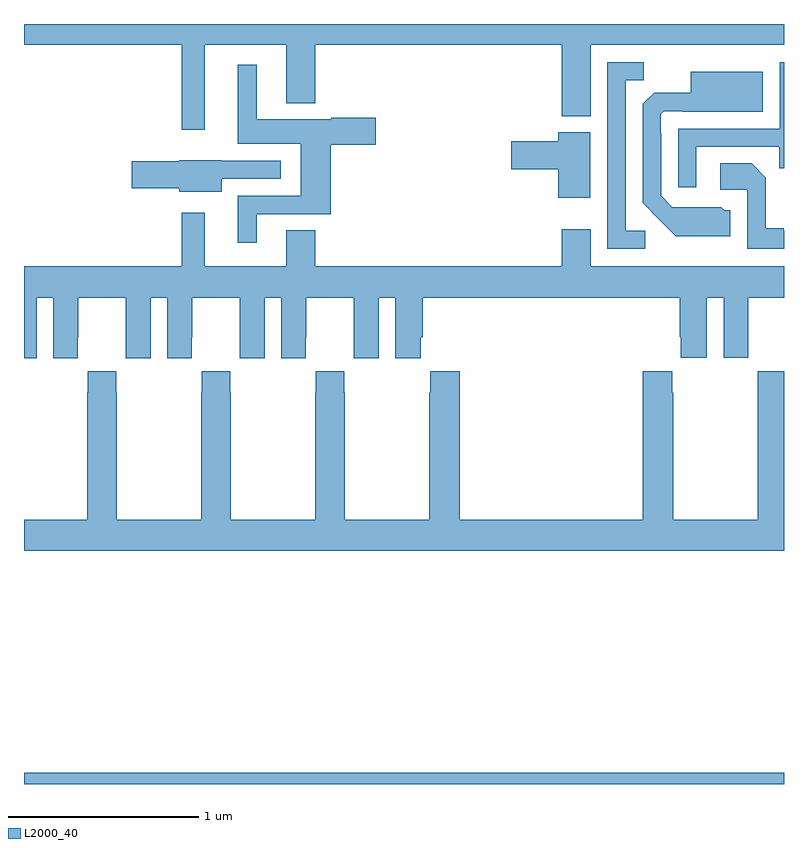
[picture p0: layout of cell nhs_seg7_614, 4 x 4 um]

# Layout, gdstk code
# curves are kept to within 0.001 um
import gdstk
lib = gdstk.Library(unit=1e-6, precision=1e-09)
def R(c, l, rs):  # rectangles x0, y0, x1, y1
    for r in rs: c.add(gdstk.rectangle(r[:2], r[2:], *l))
def P(c, l, *ps):  # polygons
    for p in ps: c.add(gdstk.Polygon(p, *l))
L2000_40 = (2000, 40)

nhs_seg7_614 = lib.new_cell('nhs_seg7_614')
R(nhs_seg7_614, L2000_40, [(157,1054,161,1054.06)])
P(nhs_seg7_614, L2000_40, [(157.951,1057.892),(158.381,1057.892),(158.381,1057.583),(158.534,1057.583),(158.534,1057.892),(159.83,1057.892),(159.83,1057.514),(159.982,1057.514),(159.982,1057.892),(161,1057.892),(161,1058),(157,1058),(157,1057.892),(157.83,1057.892),(157.83,1057.443),(157.951,1057.443)],
  [(160.539,1057.353),(160.975,1057.353),(160.975,1057.24),(161,1057.24),(161,1057.8),(160.977,1057.8),(160.977,1057.449),(160.443,1057.449),(160.443,1057.14),(160.539,1057.14)],
  [(160.27,1056.912),(160.167,1056.912),(160.167,1057.705),(160.263,1057.705),(160.263,1057.8),(160.071,1057.8),(160.071,1056.816),(160.27,1056.816)],
  [(158.224,1056.999),(158.615,1056.999),(158.615,1057.364),(158.851,1057.364),(158.851,1057.506),(158.617,1057.506),(158.617,1057.498),(158.224,1057.498),(158.224,1057.786),(158.126,1057.786),(158.126,1057.37),(158.456,1057.37),(158.456,1057.095),(158.126,1057.095),(158.126,1056.849),(158.224,1056.849)],
  [(160.717,1057.02),(160.686,1057.02),(160.67,1057.036),(160.413,1057.035),(160.353,1057.095),(160.353,1057.424),(160.35,1057.424),(160.35,1057.524),(160.368,1057.542),(160.468,1057.542),(160.468,1057.538),(160.888,1057.538),(160.888,1057.75),(160.508,1057.75),(160.508,1057.639),(160.316,1057.639),(160.257,1057.58),(160.257,1057.058),(160.429,1056.884),(160.717,1056.884)],
  [(159.979,1057.429),(159.812,1057.429),(159.812,1057.382),(159.564,1057.382),(159.564,1057.235),(159.812,1057.235),(159.812,1057.086),(159.979,1057.086)],
  [(158.041,1057.185),(158.35,1057.185),(158.35,1057.281),(158.037,1057.281),(158.037,1057.282),(157.818,1057.282),(157.818,1057.277),(157.566,1057.277),(157.566,1057.135),(157.818,1057.135),(157.818,1057.118),(158.041,1057.118)],
  [(161,1056.912),(160.999,1056.912),(160.999,1056.925),(160.905,1056.925),(160.905,1057.192),(160.829,1057.268),(160.665,1057.268),(160.665,1057.128),(160.806,1057.128),(160.806,1056.816),(161,1056.816)],
  [(158.135,1056.352),(158.136,1056.352),(158.136,1056.24),(158.266,1056.24),(158.266,1056.56),(158.354,1056.56),(158.354,1056.24),(158.484,1056.24),(158.484,1056.352),(158.485,1056.352),(158.485,1056.56),(158.735,1056.56),(158.735,1056.352),(158.736,1056.352),(158.736,1056.24),(158.866,1056.24),(158.866,1056.56),(158.954,1056.56),(158.954,1056.24),(159.088,1056.24),(159.088,1056.352),(159.098,1056.352),(159.098,1056.56),(160.451,1056.56),(160.451,1056.355),(160.457,1056.355),(160.457,1056.243),(160.594,1056.243),(160.594,1056.56),(160.682,1056.56),(160.682,1056.243),(160.813,1056.243),(160.813,1056.56),(161,1056.56),(161,1056.724),(159.982,1056.724),(159.982,1056.919),(159.83,1056.919),(159.83,1056.724),(158.534,1056.724),(158.534,1056.914),(158.381,1056.914),(158.381,1056.724),(157.951,1056.724),(157.951,1057.006),(157.83,1057.006),(157.83,1056.724),(157,1056.724),(157,1056.24),(157.066,1056.24),(157.066,1056.56),(157.154,1056.56),(157.154,1056.24),(157.284,1056.24),(157.284,1056.352),(157.285,1056.352),(157.285,1056.56),(157.535,1056.56),(157.535,1056.352),(157.536,1056.352),(157.536,1056.24),(157.666,1056.24),(157.666,1056.56),(157.754,1056.56),(157.754,1056.24),(157.884,1056.24),(157.884,1056.352),(157.885,1056.352),(157.885,1056.56),(158.135,1056.56)],
  [(159.139,1056.172),(159.139,1056.059),(159.133,1056.059),(159.133,1055.392),(158.688,1055.392),(158.688,1056.059),(158.685,1056.059),(158.685,1056.172),(158.535,1056.172),(158.535,1056.059),(158.533,1056.059),(158.533,1055.392),(158.088,1055.392),(158.088,1056.059),(158.085,1056.059),(158.085,1056.172),(157.935,1056.172),(157.935,1056.059),(157.933,1056.059),(157.933,1055.392),(157.488,1055.392),(157.488,1056.059),(157.485,1056.059),(157.485,1056.172),(157.335,1056.172),(157.335,1056.059),(157.333,1056.059),(157.333,1055.392),(157,1055.392),(157,1055.228),(161,1055.228),(161,1056.172),(160.861,1056.172),(160.861,1055.392),(160.416,1055.392),(160.416,1056.059),(160.411,1056.059),(160.411,1056.172),(160.256,1056.172),(160.256,1055.392),(159.293,1055.392),(159.293,1056.172)])

lib.write_gds('nhs_seg7_614.gds')
